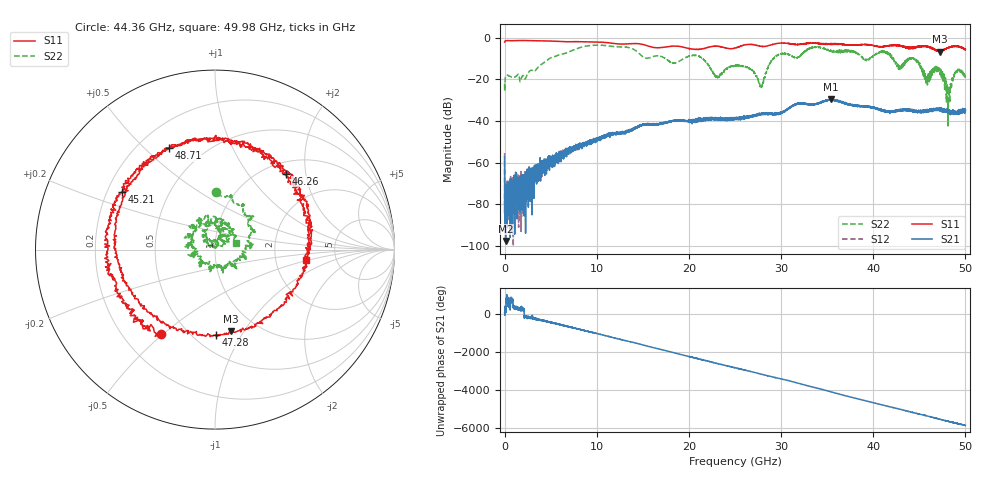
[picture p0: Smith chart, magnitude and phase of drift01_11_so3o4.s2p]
!Created with skrf (http://scikit-rf.org).
# Hz S RI R 50.0
!freq ReS11 ImS11 ReS21 ImS21 ReS12 ImS12 ReS22 ImS22
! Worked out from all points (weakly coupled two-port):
!   10001 points, 300 kHz to 50 GHz, reference 50 ohm
!   highest |S21| = -29.62 dB at 35.42 GHz (marker M1); lowest = -97.6 dB at 110.3 MHz (marker M2)
!   lowest |S11| = -6.7 dB at 47.2 GHz (marker M3), VSWR 2.72, Z = 38 - j44 ohm
!   |S11| at or under -10 dB: nowhere
!   |S22| runs from -42.4 to -3.6 dB; largest |S21 - S12| = 0.0048
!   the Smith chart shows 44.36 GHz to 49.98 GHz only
!   S11 on the Smith chart (normalised r, x): 44.36 GHz: 0.36, -0.49; 45.21 GHz: 0.26, +0.27; 46.26 GHz: 1.22, +1.56; 47.28 GHz: 0.64, -0.79; 48.71 GHz: 0.32, +0.60; 49.98 GHz: 3.02, -0.48
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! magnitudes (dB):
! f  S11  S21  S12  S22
! 300 kHz  -2.1  -57.2  -55.3  -22.0
! 110.3 MHz  -1.5  -97.6  -78.9  -18.5
! 1.89 GHz  -1.4  -68.4  -70.0  -18.6
! 8.335 GHz  -2.0  -51.5  -51.6  -4.6
! 16.67 GHz  -4.8  -41.4  -41.8  -8.7
! 20.96 GHz  -5.6  -39.2  -39.6  -8.7
! 23.07 GHz  -4.1  -39.5  -39.8  -18.7
! 25 GHz  -5.0  -39.1  -38.8  -13.7
! 27.83 GHz  -4.2  -36.4  -36.4  -22.7
! 29.47 GHz  -2.9  -36.7  -37.0  -8.8
! 33.34 GHz  -2.6  -31.9  -32.1  -4.8
! 35.42 GHz  -2.8  -29.6  -29.9  -6.2
! 41.67 GHz  -3.9  -35.5  -35.6  -7.7
! 44.36 GHz  -5.1  -35.7  -35.2  -9.8
! 45.21 GHz  -4.3  -35.8  -35.5  -14.1
! 46.26 GHz  -4.7  -34.6  -35.2  -17.1
! 47.2 GHz  -6.7  -34.1  -34.6  -15.7
! 47.28 GHz  -6.4  -35.3  -34.2  -16.6
! 48.13 GHz  -4.8  -35.3  -35.6  -35.4
! 48.71 GHz  -4.1  -36.9  -36.3  -18.0
! 49.98 GHz  -5.8  -34.5  -34.2  -18.4
! 50 GHz  -5.7  -35.1  -34.9  -18.5
